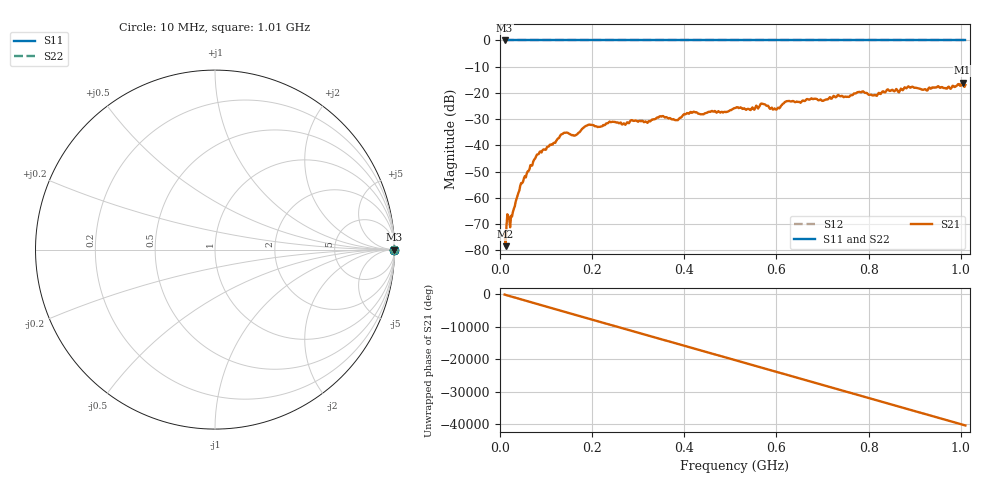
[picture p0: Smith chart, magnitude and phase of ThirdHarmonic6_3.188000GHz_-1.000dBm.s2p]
! 8/17/2025 9:38:51 AM
! C:\ANRITSUVNA\TEMP\TEMP.S2P
! CHANNEL.1
! TR.MEASUREMENT
! RAW.DATA
! RF.CORRECTION.OFF
! AVERAGING.OFF
! IF.BANDWIDTH: 5KHZ
! SWEEPTYPE:  FREQ.SWEEP(Linear)
! Reference Plane Port Info
! PORT:  PORT1  PORT2
! DISTANCE:  0  m  0  m
! TIME:  0  s  0  s
! PHASE.OFFSET:  0  deg.  0  deg.
! LOSS:  0  dB  0  dB
! REF.LOSS:  0  dB  0  dB
! REF.FREQ:  0  Hz  0  Hz
! Power Info
! POWER:  -20  dBm  -20  dBm
! EFF.POWER:  -20  dBm  -20  dBm
! SOURCE.ATTEN:  0  dB  0  dB
! TEST.ATTEN:  0  dB  0  dB
# GHZ S RI R 50.0
! FREQ.GHZ  S11RE  S11IM  S21RE  S21IM  S12RE  S12IM  S22RE  S22IM
!; PortSelection: Port_12
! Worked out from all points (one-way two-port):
!   501 points, 10 MHz to 1.01 GHz, reference 50 ohm
!   highest |S21| = -16.04 dB at 1.004 GHz (marker M1); lowest = -78.4 dB at 12 MHz (marker M2)
!   lowest |S11| = 0.0 dB at 10 MHz (marker M3)
!   |S11| at or under -10 dB: nowhere
!   |S22| runs from 0.0 to 0.0 dB; largest |S21 - S12| = 1.1
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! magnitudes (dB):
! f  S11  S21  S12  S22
! 10 MHz  0.0  -73.1  0.0  0.0
! 12 MHz  0.0  -78.4  0.0  0.0
! 20 MHz  0.0  -67.8  0.0  0.0
! 26 MHz  0.0  -67.1  0.0  0.0
! 48 MHz  0.0  -54.4  0.0  0.0
! 82 MHz  0.0  -43.4  0.0  0.0
! 136 MHz  0.0  -35.6  0.0  0.0
! 164 MHz  0.0  -36.1  0.0  0.0
! 178 MHz  0.0  -33.7  0.0  0.0
! 344 MHz  0.0  -29.4  0.0  0.0
! 382 MHz  0.0  -30.4  0.0  0.0
! 416 MHz  0.0  -27.6  0.0  0.0
! 510 MHz  0.0  -25.8  0.0  0.0
! 570 MHz  0.0  -24.2  0.0  0.0
! 596 MHz  0.0  -25.9  0.0  0.0
! 622 MHz  0.0  -23.1  0.0  0.0
! 678 MHz  0.0  -22.3  0.0  0.0
! 784 MHz  0.0  -19.7  0.0  0.0
! 814 MHz  0.0  -20.8  0.0  0.0
! 844 MHz  0.0  -19.1  0.0  0.0
! 1.004 GHz  0.0  -16.0  0.0  0.0
! 1.01 GHz  0.0  -17.0  0.0  0.0
